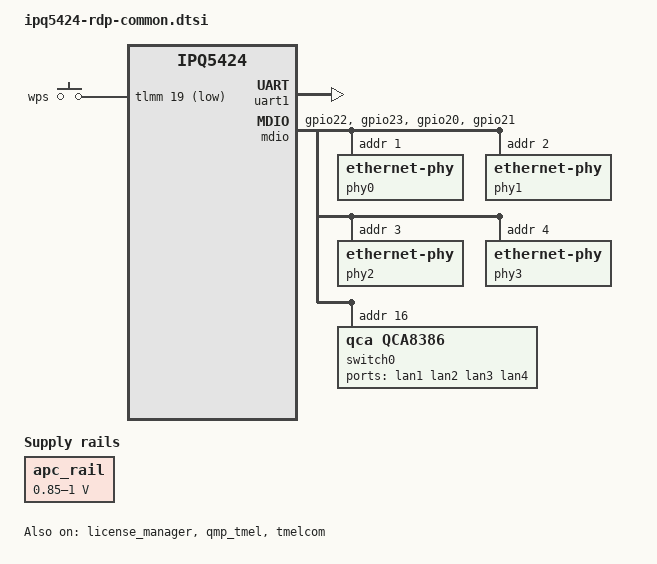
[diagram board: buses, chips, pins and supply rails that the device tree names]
// SPDX-License-Identifier: (GPL-2.0+ OR BSD-3-Clause)
/*
 * IPQ5424 RDP board common device tree source
 *
 * Copyright (c) 2020-2021 The Linux Foundation. All rights reserved.
 * Copyright (c) 2022-2025 Qualcomm Innovation Center, Inc. All rights reserved.
 */

/dts-v1/;

#include <dt-bindings/gpio/gpio.h>
#include <dt-bindings/input/input.h>
#include <dt-bindings/leds/common.h>
#include "ipq5424.dtsi"

/ {
	aliases {
		serial0 = &uart1;
		serial1 = &uart0;
		ethernet0 = "/soc/dp1";
		ethernet1 = "/soc/dp2";
		ethernet2 = "/soc/dp3";
	};

	chosen {
		stdout-path = "serial0";
	};

	soc@0 {
		qupv3: geniqup@1ac0000 {
			status = "okay";

			uart0: serial@1a80000 {
				pinctrl-0 = <&qup_uart0_default>;
				pinctrl-names = "default";
			};

			uart1: serial@1a84000 {
				pinctrl-0 = <&qup_uart1_default>;
				pinctrl-names = "default";
				status = "okay";
			};
		};

		gpio-keys {
			compatible = "gpio-keys";
			pinctrl-0 = <&gpio_keys_default>;
			pinctrl-names = "default";
			status = "okay";

			button-wps {
				label = "wps";
				linux,code = <KEY_WPS_BUTTON>;
				gpios = <&tlmm 19 GPIO_ACTIVE_LOW>;
				linux,input-type = <1>;
				debounce-interval = <60>;
			};
		};

		system-cache-controller@800000 {
			status = "okay";
		};

		mdio: mdio@90000 {
			pinctrl-0 = <&mdio_mst_pins &mdio_slv_pins>;
			pinctrl-names = "default";
			/*gpio18 for manhattan reset*/
			phy-reset-gpio = <&tlmm 18 GPIO_ACTIVE_LOW>;
			phyaddr_fixup = <0xC90F018>;
			uniphyaddr_fixup = <0xC90F014>;
			mdio_clk_fixup; /* MDIO clock sequence fix up flag */
			status = "okay";

			phy0:ethernet-phy@0 {
				reg = <1>;
				fixup;
			};
			phy1:ethernet-phy@1 {
				reg = <2>;
				fixup;
			};
			phy2:ethernet-phy@2 {
				reg = <3>;
				fixup;
			};
			phy3:ethernet-phy@3 {
				reg = <4>;
				fixup;
			};

			switch0@10 {
				compatible = "qca,qca8386";
				#address-cells = <1>;
				#size-cells = <0>;
				reg = <0x10>;

				ports {
					#address-cells = <1>;
					#size-cells = <0>;

					port@1 {
						reg = <1>;
						label = "lan1";
						phy-handle = <&phy0>;
						phy-mode = "internal";
					};

					port@2 {
						reg = <2>;
						label = "lan2";
						phy-handle = <&phy1>;
						phy-mode = "internal";
					};

					port@3 {
						reg = <3>;
						label = "lan3";
						phy-handle = <&phy2>;
						phy-mode = "internal";
					};

					port@4 {
						reg = <4>;
						label = "lan4";
						phy-handle = <&phy3>;
						phy-mode = "internal";
					};
				};
			};
		};

		ess-instance {
			num_devices = <0x2>;
#ifdef __CONFIG_IO_COHERENCY__
			dma-coherent;
#endif
			ess-switch@3a000000 {
#ifdef __CONFIG_IO_COHERENCY__
				dma-coherent;
#endif
				switch_cpu_bmp = <0x1>;  /* cpu port bitmap */
				switch_lan_bmp = <0x8>; /* lan port bitmap */
				switch_mac_mode = <0xff>; /* mac mode for uniphy instance0*/
				switch_mac_mode1 = <0xff>; /* mac mode for uniphy instance1*/
				switch_mac_mode2 = <0xc>; /* mac mode for uniphy instance2*/

				qcom,port_phyinfo {
					port@2 {
						port_id = <3>;
						forced-speed = <2500>;
						forced-duplex = <1>;
						port_mac_sel = "QGMAC_PORT";
						switch_external {
							switch_handle = <&switch1>;
							switch_cpu_port = <0>;
						};
					};
				};
			};

			switch1: ess-switch1@1 {
#ifdef __CONFIG_IO_COHERENCY__
				dma-coherent;
#endif
				compatible = "qcom,ess-switch-qca8386";
				device_id = <1>;
				switch_access_mode = "mdio";
				mdio-bus = <&mdio>;
				switch_mac_mode = <0xc>; /* mac mode for uniphy instance0 */
				switch_mac_mode1 = <0xff>; /* mac mode1 for uniphy instance1 */
				switch_cpu_bmp = <0x1>;  /* cpu port bitmap */
				switch_lan_bmp = <0x1e>; /* lan port bitmap */
				switch_wan_bmp = <0x0>;  /* wan port bitmap */

				qcom,port_phyinfo {
					port@0 {
						port_id = <0>;
						forced-speed = <2500>;
						forced-duplex = <1>;
					};
					port@1 {
						port_id = <1>;
						phy_address = <1>;
					};
					port@2 {
						port_id = <2>;
						phy_address = <2>;
					};
					port@3 {
						port_id = <3>;
						phy_address = <3>;
					};
					port@4 {
						port_id = <4>;
						phy_address = <4>;
					};
				};

				qcom,port_ledinfo {
					port@0 {
						port = <1>;
						led_source@2 {
							source = <2>;
							mode = "normal";
							speed = "all";
							blink_en = "enable";
							active = "high";
						};
					};
					port@1 {
						port = <2>;
						led_source@2 {
							source = <2>;
							mode = "normal";
							speed = "all";
							blink_en = "enable";
							active = "high";
						};
					};
					port@2 {
						port = <3>;
						led_source@2 {
							source = <2>;
							mode = "normal";
							speed = "all";
							blink_en = "enable";
							active = "high";
						};
					};
					port@3 {
						port = <4>;
							led_source@2 {
							source = <2>;
							mode = "normal";
							speed = "all";
							blink_en = "enable";
							active = "high";
						};
					};
				};
			};
		};

		apc_rail: apc-gpio-regulator {
			pinctrl-0 = <&regulator_gpio>;
			pinctrl-names = "default";
			compatible = "regulator-gpio";
			regulator-name = "vdd-apc";
			regulator-type = "voltage";
			regulator-boot-on;
			regulator-always-on;
			regulator-min-microvolt = <850000>;
			regulator-max-microvolt = <1000000>;
			regulator-ramp-delay = <250>; /* 20ms */
			gpios = <&tlmm 17 GPIO_ACTIVE_HIGH>;
			gpios-states = <0x1>;
			states = <850000 0>, <1000000 1>;
		};
	};
};

&sleep_clk {
	clock-frequency = <32000>;
};

&xo {
	clock-frequency = <24000000>;
};

&license_manager {
	status = "okay";
};

&qmp_tmel {
	status = "okay";
};

&tmelcom {
	status = "okay";
};

&q6v5_wcss {
	pinctrl-0 = <&wsi_default_state>;
	pinctrl-names = "default";
};

&tlmm {
	gpio_keys_default: gpio-keys-default-state {
		pins = "gpio19";
		function = "gpio";
		drive-strength = <8>;
		bias-pull-up;
	};

	mdio_mst_pins: mdio0-state {
		mux_0 {
			pins = "gpio22";
			function = "mdc_mst";
			drive-strength = <8>;
			bias-pull-up;
		};

		mux_1 {
			pins = "gpio23";
			function = "mdio_mst";
			drive-strength = <8>;
			bias-pull-up;
		};
	};

	mdio_slv_pins: mdio1-state {
		mux_0 {
			pins = "gpio20";
			function = "mdc_slv";
			drive-strength = <8>;
			bias-disable;
		};

		mux_1 {
			pins = "gpio21";
			function = "mdio_slv";
			drive-strength = <8>;
			bias-pull-up;
		};
	};

	wsi_default_state: wsi-default-state {
		wsi0 {
			pins = "gpio24";
			function = "wsi_clk";
			drive-strength = <8>;
			bias-pull-down;
		};

		wsi1 {
			pins = "gpio26";
			function = "wsi_data";
			drive-strength = <8>;
			bias-pull-down;
		};

		wsi2 {
			pins = "gpio27";
			function = "wsi_clk";
			drive-strength = <8>;
			bias-pull-down;
		};

		wsi3 {
			pins = "gpio29";
			function = "wsi_data";
			drive-strength = <8>;
			bias-pull-down;
		};
	};

	regulator_gpio: regulator-gpio {
		pins = "gpio17";
		function = "gpio";
		drive-strength = <8>;
		bias-disable;
	};
};

&CPU0 {
	cpu-supply = <&apc_rail>;
};

&CPU1 {
	cpu-supply = <&apc_rail>;
};

&CPU2 {
	cpu-supply = <&apc_rail>;
};

&CPU3 {
	cpu-supply = <&apc_rail>;
};
